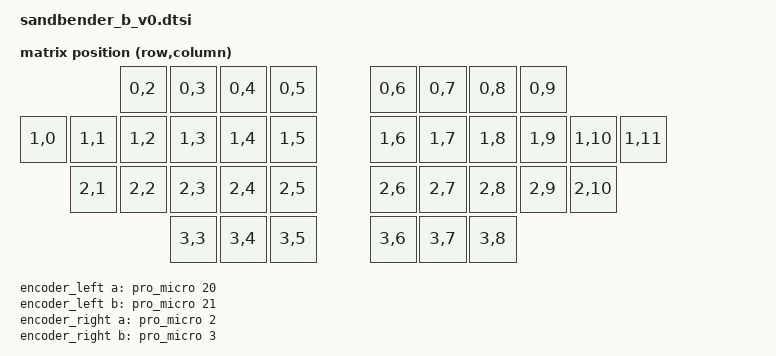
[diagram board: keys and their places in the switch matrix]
#include <dt-bindings/zmk/matrix_transform.h>

// The ZMK Nice!nano layout, maps pins to align with the green numbers in the
// official pin-out schematic:
//                      https://nicekeyboards.com/docs/nice-nano/pinout-schematic
// I find that the face-down reference is easier to understand when visualizing
// the board:
//                                                                         ╭──────────────╮        ╭──────────────╮
//                        ╭──────────┬──────────┬──────────┬──────────╮    |bat        gnd|        |bat        gnd|    ╭──────────┬──────────┬──────────┬──────────╮
//                        │  W       │  E       │  R       │  T       │    |bat          1|        |bat          1|    |  Y       │  U       │  I       │  O       │
//  ╭──────────┬──────────┼──────────┼──────────┼──────────┼──────────┤    |gnd          0|        |gnd          0|    ├──────────┼──────────┼──────────┼──────────┼──────────┬──────────╮
//  │  Q       │  A       │  S       │  D       │  F       │  G       │    |reset      gnd|        |reset      gnd|    │  H       │  J       │  K       │  L       │ ' "      │  P       │
//  ╰──────────┼──────────┼──────────┼──────────┼──────────┼──────────┤    |3.3v       gnd|        |.3v        gnd|    ├──────────┼──────────┼──────────┼──────────┼──────────┼──────────╯
//             │  Z       │  X       │  C       │  V       │  B       │    |21           2|        |21           2|    │  N       │  M       │ , <      │ . >      │ / ?      │
//             ╰──────────┴──────────┼──────────┼──────────┼──────────┤    |20           3|        |20           3|    ├──────────┼──────────┼──────────┼──────────┴──────────╯
//                                   |  del     |  bkspce  |  scroll  |    |19           4|        |19           4|    |  scroll  | spce     | enter    |
//                                   ╰──────────┴──────────┴──────────╯ col|18 >|        5|        |18        |< 5|col ╰──────────┴──────────┴──────────╯
//                                                                      col|15 >|     >| 6|row  row|15 |<     |< 6|col
//                                                                      col|14 >|     >| 7|row  row|14 |<     |< 7|col
//                                                                      col|16 >|     >| 8|row  row|16 |<     |< 8|col
//                                                                      col|10 >|     >| 9|row  row|10 |<     |< 9|col
//                                                                         ╰──────────────╯        ╰──────────────╯

/ {
    chosen {
        zmk,kscan = &kscan0;
        zmk,matrix_transform = &default_transform;
    };

    default_transform: keymap_transform_0 {
        compatible = "zmk,matrix-transform";
        rows = <4>;
        columns = <12>;

        map = <
                RC(0,2) RC(0,3) RC(0,4) RC(0,5)          RC(0,6) RC(0,7) RC(0,8) RC(0,9)
RC(1,0) RC(1,1) RC(1,2) RC(1,3) RC(1,4) RC(1,5)          RC(1,6) RC(1,7) RC(1,8) RC(1,9) RC(1,10) RC(1,11)
        RC(2,1) RC(2,2) RC(2,3) RC(2,4) RC(2,5)          RC(2,6) RC(2,7) RC(2,8) RC(2,9) RC(2,10)
                        RC(3,3) RC(3,4) RC(3,5)          RC(3,6) RC(3,7) RC(3,8)
        >;
    };

    kscan0: kscan {
        compatible = "zmk,kscan-gpio-matrix";
    };

    encoder_left: encoder_left {
        compatible = "alps,ec11";
        a-gpios = <&pro_micro 20 (GPIO_ACTIVE_HIGH | GPIO_PULL_UP)>;
        b-gpios = <&pro_micro 21 (GPIO_ACTIVE_HIGH | GPIO_PULL_UP)>;
        steps = <30>;
        status = "disabled";
    };

    encoder_right: encoder_right {
        compatible = "alps,ec11";
        a-gpios = <&pro_micro 2 (GPIO_ACTIVE_HIGH | GPIO_PULL_UP)>;
        b-gpios = <&pro_micro 3 (GPIO_ACTIVE_HIGH | GPIO_PULL_UP)>;
        steps = <30>;
        status = "disabled";
    };

    sensors: sensors {
        compatible = "zmk,keymap-sensors";
        sensors = <&encoder_left &encoder_right>;
        triggers-per-rotation = <15>;
    };
};
